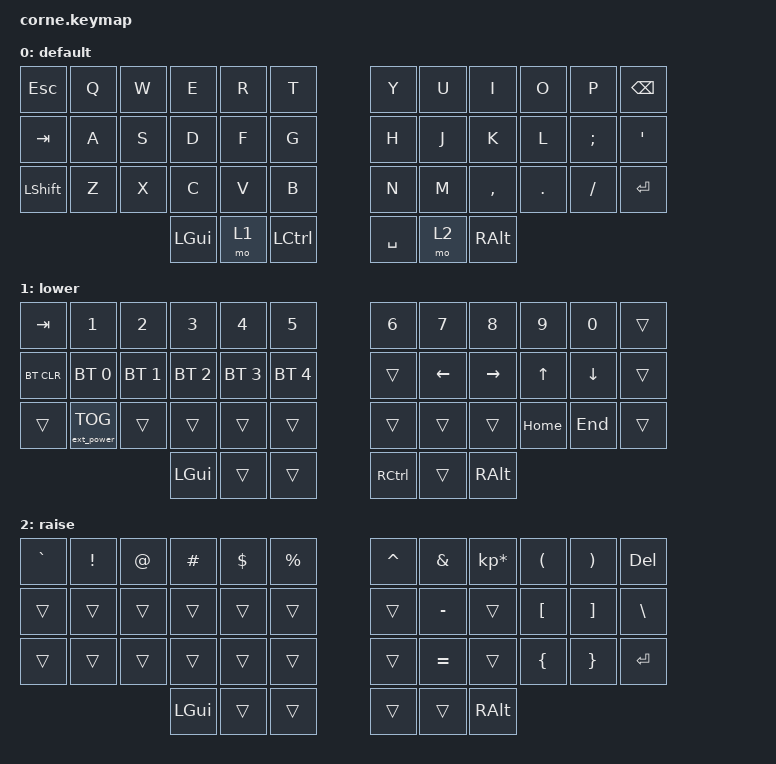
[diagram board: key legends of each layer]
/*
 * Copyright (c) 2020 The ZMK Contributors
 *
 * SPDX-License-Identifier: MIT
 */

#include <behaviors.dtsi>
#include <dt-bindings/zmk/keys.h>
#include <dt-bindings/zmk/bt.h>
#include <dt-bindings/led/led.h>
#include <dt-bindings/zmk/ext_power.h>

/ {
        keymap {
                compatible = "zmk,keymap";

                default_layer {
                        label = "default";
// -----------------------------------------------------------------------------------------
// | ESC  |  Q  |  W  |  E  |  R  |  T  |   |  Y  |  U   |  I  |  O  |  P  | BKSP |
// | TAB  |  A  |  S  |  D  |  F  |  G  |   |  H  |  J   |  K  |  L  |  ;  |  '   |
// | SHFT |  Z  |  X  |  C  |  V  |  B  |   |  N  |  M   |  ,  |  .  |  /  | ENTR |
//                    | GUI | LWR | CTL |   | SPC | RSE  | ALT |
                        bindings = <
   &kp ESC   &kp Q &kp W &kp E &kp R &kp T   &kp Y &kp U  &kp I     &kp O   &kp P    &kp BSPC
   &kp TAB &kp A &kp S &kp D &kp F &kp G   &kp H &kp J  &kp K     &kp L   &kp SEMI &kp SQT
   &kp LSHFT &kp Z &kp X &kp C &kp V &kp B   &kp N &kp M  &kp COMMA &kp DOT &kp FSLH &kp RET
                  &kp LGUI &mo 1 &kp LCTRL   &kp SPACE &mo 2 &kp RALT
                        >;
                };
                lower_layer {
                        label = "lower";
// -----------------------------------------------------------------------------------------
// |  TAB |  1  |  2  |  3  |  4  |  5  |   |  6  |  7  |  8  |  9  |  0  |      |
// | BTCLR| BT1 | BT2 | BT3 | BT4 | BT5 |   |     | LFT | RGT | UP  | DWN |      |
// | SHFT |     |     |     |     |     |   |     |     |     | HOME| END |      |
//                    | GUI |     | CTL |   | CTL |     | ALT |
                        bindings = <
   &kp TAB    &kp N1       &kp N2       &kp N3       &kp N4       &kp N5         &kp N6    &kp N7   &kp N8    &kp N9    &kp N0   &trans
   &bt BT_CLR &bt BT_SEL 0 &bt BT_SEL 1 &bt BT_SEL 2 &bt BT_SEL 3 &bt BT_SEL 4   &trans    &kp LEFT &kp RIGHT &kp UP    &kp DOWN &trans
   &trans     &ext_power EP_TOG       &trans       &trans       &trans       &trans         &trans    &trans   &trans   &kp HOME  &kp END  &trans
                          	        &kp LGUI     &trans       &trans         &kp RCTRL &trans   &kp RALT
                        >;
                };

                raise_layer {
                        label = "raise";
// -----------------------------------------------------------------------------------------
// |   `  |  !  |  @  |  #  |  $  |  %  |   |  ^  |  &  |  *  |  (  |  )  | DEL |
// |      |     |     |     |     |     |   |     |  -  |     |  [  |  ]  |  \  |
// |      |     |     |     |     |     |   |     |  =  |     |  {  |  }  | ENTR|
//                    | GUI |     | CTL |   |     | SPC |     | ALT |
                        bindings = <
   &kp GRAVE &kp EXCL &kp AT &kp HASH &kp DLLR &kp PRCNT   &kp CARET &kp AMPS  &kp KP_MULTIPLY &kp LPAR &kp RPAR &kp DEL
   &trans    &trans   &trans &trans   &trans   &trans      &trans    &kp MINUS &trans          &kp LBKT &kp RBKT &kp BSLH
   &trans    &trans   &trans &trans   &trans   &trans      &trans    &kp EQUAL &trans          &kp LBRC &kp RBRC &kp ENTER
                    	     &kp LGUI &trans   &trans   &trans   &trans    &kp RALT
                        >;
                };
        };
};
